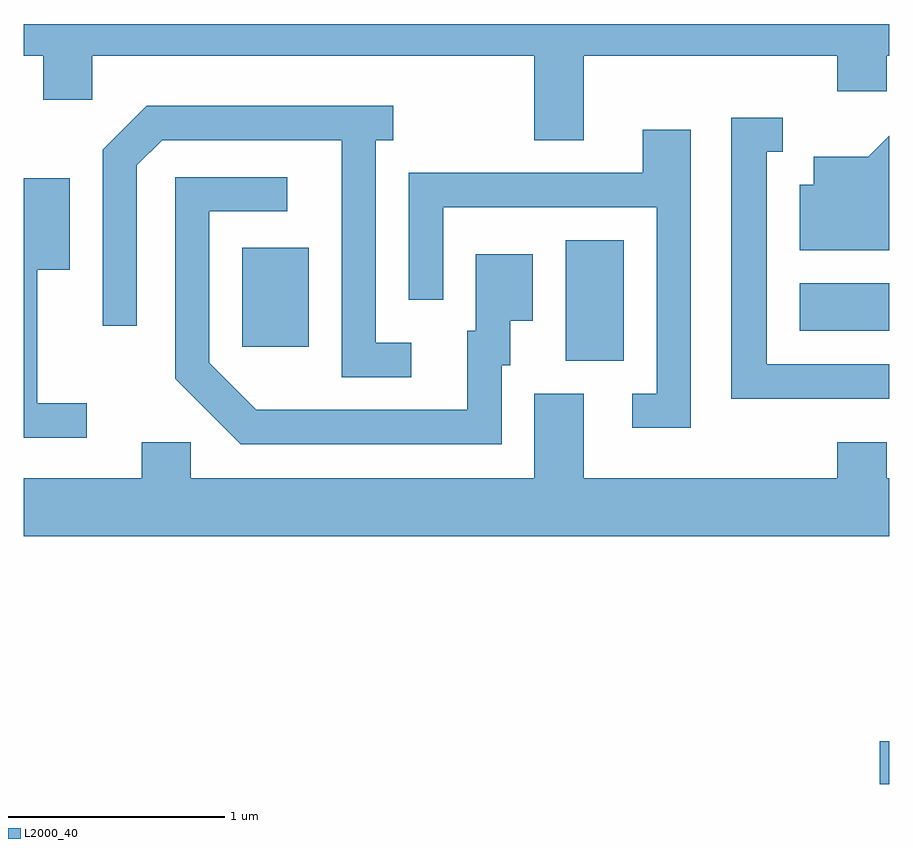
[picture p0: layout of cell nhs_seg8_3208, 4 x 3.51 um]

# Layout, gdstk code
import gdstk
lib = gdstk.Library(unit=1e-6, precision=1e-09)
def R(c, l, rs):  # rectangles x0, y0, x1, y1
    for r in rs: c.add(gdstk.rectangle(r[:2], r[2:], *l))
def P(c, l, *ps):  # polygons
    for p in ps: c.add(gdstk.Polygon(p, *l))
L2000_40 = (2000, 40)

nhs_seg8_3208 = lib.new_cell('nhs_seg8_3208')
R(nhs_seg8_3208, L2000_40, [(285.566,1830.831,285.611,1831.029), (284.116,1832.786,284.384,1833.344), (282.621,1832.851,282.929,1833.309), (285.196,1832.926,285.611,1833.144)])
P(nhs_seg8_3208, L2000_40, [(284.199,1834.196),(285.371,1834.196),(285.371,1834.031),(285.599,1834.031),(285.599,1834.196),(285.611,1834.196),(285.611,1834.342),(281.611,1834.342),(281.611,1834.196),(281.701,1834.196),(281.701,1833.991),(281.929,1833.991),(281.929,1834.196),(283.971,1834.196),(283.971,1833.806),(284.199,1833.806)],
  [(283.403,1832.869),(283.239,1832.869),(283.239,1833.806),(283.318,1833.806),(283.318,1833.964),(282.179,1833.964),(281.976,1833.762),(281.976,1832.948),(282.134,1832.948),(282.134,1833.689),(282.252,1833.806),(283.081,1833.806),(283.081,1832.711),(283.403,1832.711)],
  [(285.611,1832.769),(285.044,1832.769),(285.044,1833.751),(285.118,1833.751),(285.118,1833.909),(284.881,1833.909),(284.881,1832.611),(285.611,1832.611)],
  [(284.694,1833.854),(284.471,1833.854),(284.471,1833.654),(283.391,1833.654),(283.391,1833.068),(283.549,1833.068),(283.549,1833.496),(284.536,1833.496),(284.536,1832.634),(284.423,1832.634),(284.423,1832.476),(284.694,1832.476)],
  [(285.611,1833.826),(285.514,1833.729),(285.261,1833.729),(285.261,1833.599),(285.196,1833.599),(285.196,1833.296),(285.611,1833.296)],
  [(283.819,1832.766),(283.859,1832.766),(283.859,1832.971),(283.964,1832.971),(283.964,1833.279),(283.701,1833.279),(283.701,1832.924),(283.661,1832.924),(283.661,1832.559),(282.687,1832.559),(282.469,1832.777),(282.469,1833.476),(282.828,1833.476),(282.828,1833.634),(282.311,1833.634),(282.311,1832.704),(282.614,1832.401),(283.819,1832.401)],
  [(281.903,1832.589),(281.674,1832.589),(281.674,1833.206),(281.824,1833.206),(281.824,1833.629),(281.611,1833.629),(281.611,1832.431),(281.903,1832.431)],
  [(285.611,1832.244),(285.599,1832.244),(285.599,1832.409),(285.371,1832.409),(285.371,1832.244),(284.199,1832.244),(284.199,1832.634),(283.971,1832.634),(283.971,1832.244),(282.384,1832.244),(282.384,1832.409),(282.156,1832.409),(282.156,1832.244),(281.611,1832.244),(281.611,1831.976),(285.611,1831.976)])

lib.write_gds('nhs_seg8_3208.gds')
